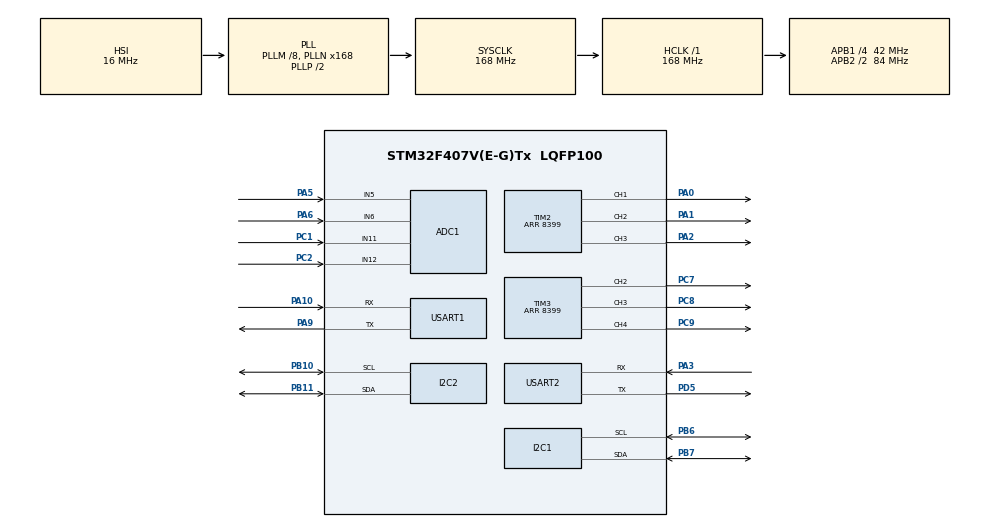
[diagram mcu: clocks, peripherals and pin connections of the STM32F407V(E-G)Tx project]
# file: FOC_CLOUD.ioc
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ADC1.Channel-0\#ChannelRegularConversion=ADC_CHANNEL_5
ADC1.NbrOfConversionFlag=1
ADC1.Rank-0\#ChannelRegularConversion=1
ADC1.SamplingTime-0\#ChannelRegularConversion=ADC_SAMPLETIME_3CYCLES
ADC1.master=1
Dma.Request0=USART1_TX
Dma.USART1_TX.0.Direction=DMA_MEMORY_TO_PERIPH
Dma.USART1_TX.0.FIFOMode=DMA_FIFOMODE_DISABLE
Dma.USART1_TX.0.Instance=DMA2_Stream7
Dma.USART1_TX.0.MemDataAlignment=DMA_MDATAALIGN_BYTE
Dma.USART1_TX.0.MemInc=DMA_MINC_ENABLE
Dma.USART1_TX.0.Mode=DMA_NORMAL
Dma.USART1_TX.0.PeriphDataAlignment=DMA_PDATAALIGN_BYTE
Dma.USART1_TX.0.PeriphInc=DMA_PINC_DISABLE
Dma.USART1_TX.0.Priority=DMA_PRIORITY_LOW
Mcu.Family=STM32F4
Mcu.Name=STM32F407V(E-G)Tx
Mcu.Package=LQFP100
NVIC.DMA2_Stream7_IRQn=true\:0\:0\:false\:false\:true\:false\:true\:true
NVIC.PriorityGroup=NVIC_PRIORITYGROUP_4
NVIC.TIM1_UP_TIM10_IRQn=true\:0\:0\:false\:false\:true\:true\:true\:true
NVIC.USART1_IRQn=true\:0\:0\:false\:false\:true\:true\:true\:true
NVIC.USART2_IRQn=true\:0\:0\:false\:false\:true\:true\:true\:true
PA0-WKUP.Signal=S_TIM2_CH1_ETR
PA1.Signal=S_TIM2_CH2
PA10.Mode=Asynchronous
PA10.Signal=USART1_RX
PA13.Mode=Serial_Wire
PA13.Signal=SYS_JTMS-SWDIO
PA14.Mode=Serial_Wire
PA14.Signal=SYS_JTCK-SWCLK
PA2.Signal=S_TIM2_CH3
PA3.Mode=Asynchronous
PA3.Signal=USART2_RX
PA5.Signal=ADCx_IN5
PA6.Signal=ADCx_IN6
PA9.Mode=Asynchronous
PA9.Signal=USART1_TX
PB10.Mode=I2C
PB10.Signal=I2C2_SCL
PB11.Mode=I2C
PB11.Signal=I2C2_SDA
PB6.Mode=I2C
PB6.Signal=I2C1_SCL
PB7.Mode=I2C
PB7.Signal=I2C1_SDA
PC1.Signal=ADCx_IN11
PC2.Signal=ADCx_IN12
PC7.Signal=S_TIM3_CH2
PC8.Signal=S_TIM3_CH3
PC9.Signal=S_TIM3_CH4
PD5.Mode=Asynchronous
PD5.Signal=USART2_TX
PH0-OSC_IN.Mode=HSE-External-Oscillator
PH0-OSC_IN.Signal=RCC_OSC_IN
PH1-OSC_OUT.Mode=HSE-External-Oscillator
PH1-OSC_OUT.Signal=RCC_OSC_OUT
ProjectManager.HeapSize=0x200
ProjectManager.StackSize=0x400
ProjectManager.TargetToolchain=MDK-ARM V5.32
RCC.48MHZClocksFreq_Value=84000000
RCC.AHBFreq_Value=168000000
RCC.APB1CLKDivider=RCC_HCLK_DIV4
RCC.APB1Freq_Value=42000000
RCC.APB1TimFreq_Value=84000000
RCC.APB2CLKDivider=RCC_HCLK_DIV2
RCC.APB2Freq_Value=84000000
RCC.APB2TimFreq_Value=168000000
RCC.CortexFreq_Value=168000000
RCC.HCLKFreq_Value=168000000
RCC.HSE_VALUE=25000000
RCC.HSI_VALUE=16000000
RCC.LSE_VALUE=32768
RCC.PLLM=8
RCC.PLLN=168
RCC.SYSCLKFreq_VALUE=168000000
RCC.SYSCLKSource=RCC_SYSCLKSOURCE_PLLCLK
RCC.VCOOutputFreq_Value=336000000
SH.ADCx_IN11.0=ADC1_IN11,IN11
SH.ADCx_IN12.0=ADC1_IN12,IN12
SH.ADCx_IN5.0=ADC1_IN5,IN5
SH.ADCx_IN6.0=ADC1_IN6,IN6
SH.S_TIM2_CH1_ETR.0=TIM2_CH1,PWM Generation1 CH1
SH.S_TIM2_CH2.0=TIM2_CH2,PWM Generation2 CH2
SH.S_TIM2_CH3.0=TIM2_CH3,PWM Generation3 CH3
SH.S_TIM3_CH2.0=TIM3_CH2,PWM Generation2 CH2
SH.S_TIM3_CH3.0=TIM3_CH3,PWM Generation3 CH3
SH.S_TIM3_CH4.0=TIM3_CH4,PWM Generation4 CH4
TIM1.Period=999
TIM1.Prescaler=167
TIM2.Channel-PWM\ Generation1\ CH1=TIM_CHANNEL_1
TIM2.Channel-PWM\ Generation2\ CH2=TIM_CHANNEL_2
TIM2.Channel-PWM\ Generation3\ CH3=TIM_CHANNEL_3
TIM2.Period=8399
TIM3.Channel-PWM\ Generation2\ CH2=TIM_CHANNEL_2
TIM3.Channel-PWM\ Generation3\ CH3=TIM_CHANNEL_3
TIM3.Channel-PWM\ Generation4\ CH4=TIM_CHANNEL_4
TIM3.Period=8399
USART1.VirtualMode=VM_ASYNC
USART2.VirtualMode=VM_ASYNC
VP_TIM1_VS_ClockSourceITR.Mode=TriggerSource_ITR0
board=custom

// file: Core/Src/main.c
/* USER CODE BEGIN Header */
/**
  ******************************************************************************
  * @file           : main.c
  * @brief          : Main program body
  ******************************************************************************
  * @attention
  *
  * Copyright (c) 2026 STMicroelectronics.
  * All rights reserved.
  *
  * This software is licensed under terms that can be found in the LICENSE file
  * in the root directory of this software component.
  * If no LICENSE file comes with this software, it is provided AS-IS.
  *
  ******************************************************************************
  */
/* USER CODE END Header */
#include "main.h"
#include "adc.h"
#include "dma.h"
#include "i2c.h"
#include "tim.h"
#include "usart.h"
#include "gpio.h"

/* USER CODE BEGIN Includes */
#include "foc_drive.h"
#include "uart.h"
/* USER CODE END Includes */

/* USER CODE BEGIN PV */
volatile uint16_t timercount = 0U;
volatile uint8_t vision_counter = 0U;
static volatile uint8_t control_tick_pending = 0U;
static volatile uint8_t telemetry_task_pending = 0U;
static volatile uint8_t vision_task_pending = 0U;
/* USER CODE END PV */

void SystemClock_Config(void);

int main(void)
{

  /* MCU Configuration--------------------------------------------------------*/

  /* Reset of all peripherals, Initializes the Flash interface and the Systick. */
  HAL_Init();

  /* Configure the system clock */
  SystemClock_Config();

  /* Initialize all configured peripherals */
  MX_GPIO_Init();
  MX_DMA_Init();
  MX_I2C1_Init();
  MX_I2C2_Init();
  MX_TIM1_Init();
  MX_TIM2_Init();
  MX_TIM3_Init();
  MX_USART1_UART_Init();
  MX_USART2_UART_Init();
  MX_ADC1_Init();
  /* USER CODE BEGIN 2 */
  if (FOC_Drive_Init() != HAL_OK)
  {
    Error_Handler();
  }
  /* USER CODE END 2 */

  /* Infinite loop */
  /* USER CODE BEGIN WHILE */
  while (1)
  {
    FOC_Drive_Service();

    if (vision_task_pending != 0U)
    {
      vision_task_pending = 0U;
      FOC_Drive_VisionTask();
    }

    if (control_tick_pending != 0U)
    {
      control_tick_pending = 0U;
      FOC_Drive_ControlTick();
    }

    if (telemetry_task_pending != 0U)
    {
      telemetry_task_pending = 0U;
      FOC_Drive_TelemetryTask();
    }

    UART_ProcessPendingCommand();

    /* USER CODE END WHILE */

  }
}

void SystemClock_Config(void)
{
  RCC_OscInitTypeDef RCC_OscInitStruct = {0};
  RCC_ClkInitTypeDef RCC_ClkInitStruct = {0};

  /** Configure the main internal regulator output voltage
  */
  __HAL_RCC_PWR_CLK_ENABLE();
  __HAL_PWR_VOLTAGESCALING_CONFIG(PWR_REGULATOR_VOLTAGE_SCALE1);

  /** Initializes the RCC Oscillators according to the specified parameters
  * in the RCC_OscInitTypeDef structure.
  */
  RCC_OscInitStruct.OscillatorType = RCC_OSCILLATORTYPE_HSI;
  RCC_OscInitStruct.HSIState = RCC_HSI_ON;
  RCC_OscInitStruct.HSICalibrationValue = RCC_HSICALIBRATION_DEFAULT;
  RCC_OscInitStruct.PLL.PLLState = RCC_PLL_ON;
  RCC_OscInitStruct.PLL.PLLSource = RCC_PLLSOURCE_HSI;
  RCC_OscInitStruct.PLL.PLLM = 8;
  RCC_OscInitStruct.PLL.PLLN = 168;
  RCC_OscInitStruct.PLL.PLLP = RCC_PLLP_DIV2;
  RCC_OscInitStruct.PLL.PLLQ = 4;
  if (HAL_RCC_OscConfig(&RCC_OscInitStruct) != HAL_OK)
  {
    Error_Handler();
  }

  /** Initializes the CPU, AHB and APB buses clocks
  */
  RCC_ClkInitStruct.ClockType = RCC_CLOCKTYPE_HCLK|RCC_CLOCKTYPE_SYSCLK
                              |RCC_CLOCKTYPE_PCLK1|RCC_CLOCKTYPE_PCLK2;
  RCC_ClkInitStruct.SYSCLKSource = RCC_SYSCLKSOURCE_PLLCLK;
  RCC_ClkInitStruct.AHBCLKDivider = RCC_SYSCLK_DIV1;
  RCC_ClkInitStruct.APB1CLKDivider = RCC_HCLK_DIV4;
  RCC_ClkInitStruct.APB2CLKDivider = RCC_HCLK_DIV2;

  if (HAL_RCC_ClockConfig(&RCC_ClkInitStruct, FLASH_LATENCY_5) != HAL_OK)
  {
    Error_Handler();
  }
}

/* USER CODE BEGIN 4 */
void HAL_TIM_PeriodElapsedCallback(TIM_HandleTypeDef *htim)
{
  if (htim->Instance == TIM1)
  {
    control_tick_pending = 1U;
    if (++timercount >= 10U)
    {
      timercount = 0U;
      telemetry_task_pending = 1U;
    }

    if (++vision_counter >= 5U)
    {
      vision_counter = 0U;
      vision_task_pending = 1U;
    }
  }
}
/* USER CODE END 4 */

void Error_Handler(void)
{
  __disable_irq();
  while (1)
  {
  }
}
